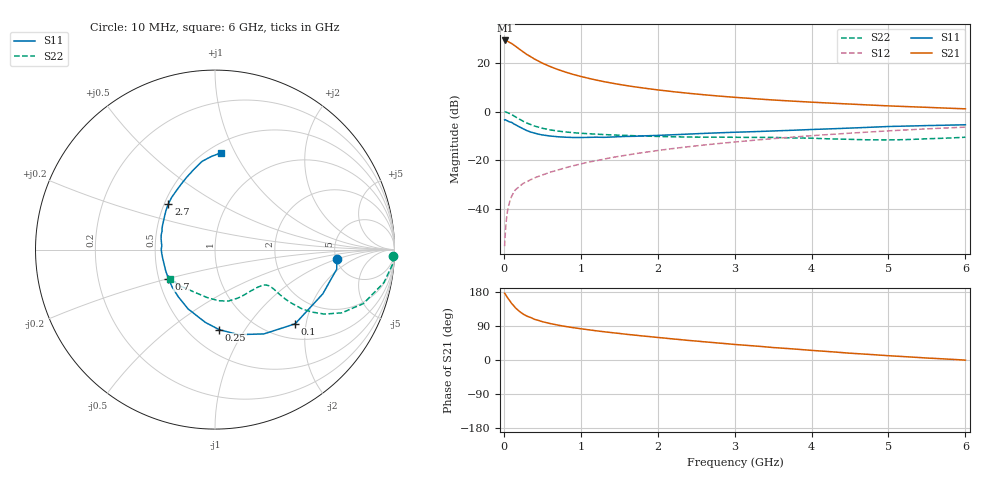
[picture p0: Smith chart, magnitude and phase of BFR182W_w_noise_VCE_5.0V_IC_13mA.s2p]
! (c) 2017  Infineon Technologies AG, Munich
! Infineon Technologies  Discrete & RF Semiconductors
! BFR182W
! VCE =  5.0 V,  IC =  13 mA
! Common Emitter S-Parameters:  Jan 2017
# GHz  S  MA  R  50
!  f  S11  S21  S12  S22
! GHz  MAG  ANG  MAG  ANG  MAG  ANG  MAG  ANG
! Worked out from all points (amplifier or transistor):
!   77 points, 10 MHz to 6 GHz, reference 50 ohm
!   highest |S21| = 29.4 dB at 20 MHz (marker M1)
!   |S21| within 3 dB of that: start of sweep to 177.9 MHz
!   unconditionally stable (mu >= 1): 997.3 MHz to 2.52 GHz
!   at 130 MHz: K = 0.33, MSG = 30.3 dB, |S12| = -33.2 dB
!   at 2.2 GHz: K = 1.02, MAG = 10.9 dB, |S12| = -15.1 dB
!   at 6 GHz: K = 0.86, MSG = 3.8 dB, |S12| = -6.3 dB
!   lowest NFmin = 1.17 dB at 450 MHz
!   S11 on the Smith chart (normalised r, x): 10 MHz: 5.04, -1.02; 100 MHz: 1.32, -1.73; 250 MHz: 0.69, -0.77; 700 MHz: 0.56, -0.20; 2.7 GHz: 0.53, +0.31; 6 GHz: 0.58, +0.88
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0.01  0.6801 -4.6  29.43 176.3  0.0017 91.9  0.9924 -2.1
0.02  0.6871 -9.1  29.5 173.3  0.0033 91.8  0.9934 -4.6
0.05  0.6492 -22.3  28.35 163.7  0.0095 80.7  0.9592 -11.0
0.1  0.6086 -42.8  25.66 149.5  0.018 73.2  0.8798 -20.0
0.15  0.543 -59.9  22.56 137.8  0.0247 66.5  0.7896 -26.5
0.2  0.4911 -74.7  19.65 128.7  0.0286 63.9  0.7079 -30.5
0.25  0.4467 -87.0  17.24 121.3  0.0333 61.9  0.6401 -32.9
0.3  0.4089 -97.6  15.15 115.8  0.0363 61.0  0.5844 -34.3
0.4  0.3629 -114.4  12.18 107.3  0.0435 61.9  0.5077 -35.1
0.5  0.3332 -127.8  10.07 101.2  0.0498 62.3  0.458 -35.0
0.6  0.317 -138.8  8.584 96.3  0.0567 63.9  0.4241 -34.5
0.7  0.3058 -148.0  7.451 92.2  0.0629 65.0  0.4013 -34.0
0.9  0.2953 -162.8  5.897 85.4  0.077 66.1  0.3715 -33.7
1.1  0.2969 -174.5  4.9 79.8  0.0917 67.2  0.3532 -34.3
1.3  0.2972 175.8  4.184 74.6  0.1057 67.3  0.3398 -35.4
1.5  0.3066 168.4  3.665 70.1  0.121 67.2  0.329 -37.5
2.1  0.3307 149.5  2.709 57.6  0.1669 65.1  0.3078 -46.9
2.7  0.3634 135.5  2.173 46.4  0.214 61.6  0.2996 -59.2
3.1  0.3827 127.3  1.937 39.5  0.2463 58.8  0.2972 -67.4
4.1  0.4368 110.3  1.549 24.0  0.3294 50.8  0.2815 -88.4
5.1  0.5015 96.9  1.304 10.1  0.4121 41.5  0.2645 -119.2
6  0.54 86.6  1.15 -0.3  0.4832 32.5  0.2989 -146.2
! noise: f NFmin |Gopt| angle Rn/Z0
0.45  1.17  0.04  108  0.14
0.9  1.26  0.05  122  0.14
1.9  1.73  0.23  -151  0.14
2.4  2  0.22  -136  0.21
